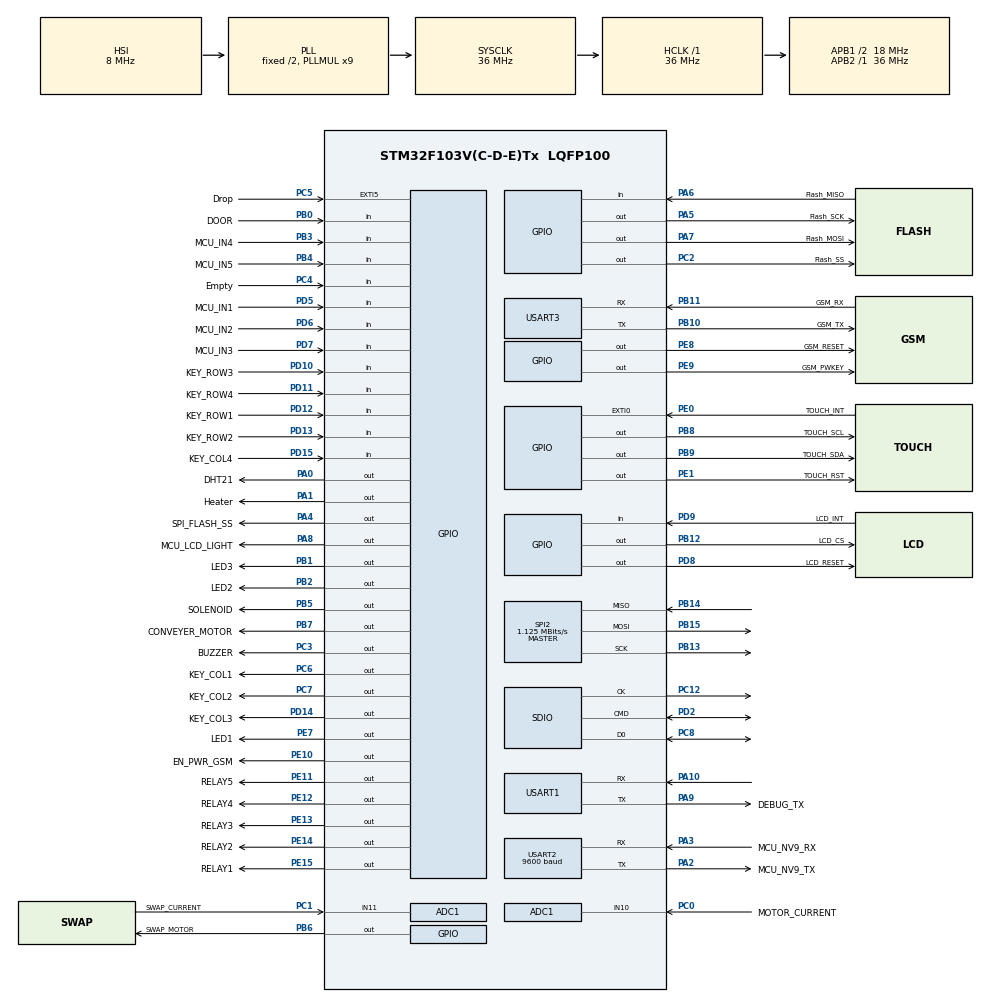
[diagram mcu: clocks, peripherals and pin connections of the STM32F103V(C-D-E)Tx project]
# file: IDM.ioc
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ADC1.Channel-2\#ChannelRegularConversion=ADC_CHANNEL_10
ADC1.Channel-3\#ChannelRegularConversion=ADC_CHANNEL_11
ADC1.ContinuousConvMode=ENABLE
ADC1.EnableRegularConversion=ENABLE
ADC1.ExternalTrigConv=ADC_EXTERNALTRIGCONV_T8_TRGO
ADC1.NbrOfConversion=2
ADC1.NbrOfConversionFlag=1
ADC1.Rank-2\#ChannelRegularConversion=1
ADC1.Rank-3\#ChannelRegularConversion=2
ADC1.SamplingTime-2\#ChannelRegularConversion=ADC_SAMPLETIME_1CYCLE_5
ADC1.SamplingTime-3\#ChannelRegularConversion=ADC_SAMPLETIME_1CYCLE_5
ADC1.master=1
Dma.Request0=USART2_RX
Dma.Request1=USART2_TX
Dma.Request2=USART3_RX
Dma.Request3=USART3_TX
Dma.Request4=USART1_RX
Dma.Request5=USART1_TX
Dma.USART1_RX.4.Direction=DMA_PERIPH_TO_MEMORY
Dma.USART1_RX.4.Instance=DMA1_Channel5
Dma.USART1_RX.4.MemDataAlignment=DMA_MDATAALIGN_BYTE
Dma.USART1_RX.4.MemInc=DMA_MINC_ENABLE
Dma.USART1_RX.4.Mode=DMA_CIRCULAR
Dma.USART1_RX.4.PeriphDataAlignment=DMA_PDATAALIGN_BYTE
Dma.USART1_RX.4.PeriphInc=DMA_PINC_DISABLE
Dma.USART1_RX.4.Priority=DMA_PRIORITY_LOW
Dma.USART1_TX.5.Direction=DMA_MEMORY_TO_PERIPH
Dma.USART1_TX.5.Instance=DMA1_Channel4
Dma.USART1_TX.5.MemDataAlignment=DMA_MDATAALIGN_BYTE
Dma.USART1_TX.5.MemInc=DMA_MINC_ENABLE
Dma.USART1_TX.5.Mode=DMA_NORMAL
Dma.USART1_TX.5.PeriphDataAlignment=DMA_PDATAALIGN_BYTE
Dma.USART1_TX.5.PeriphInc=DMA_PINC_DISABLE
Dma.USART1_TX.5.Priority=DMA_PRIORITY_LOW
Dma.USART2_RX.0.Direction=DMA_PERIPH_TO_MEMORY
Dma.USART2_RX.0.Instance=DMA1_Channel6
Dma.USART2_RX.0.MemDataAlignment=DMA_MDATAALIGN_BYTE
Dma.USART2_RX.0.MemInc=DMA_MINC_ENABLE
Dma.USART2_RX.0.Mode=DMA_NORMAL
Dma.USART2_RX.0.PeriphDataAlignment=DMA_PDATAALIGN_BYTE
Dma.USART2_RX.0.PeriphInc=DMA_PINC_DISABLE
Dma.USART2_RX.0.Priority=DMA_PRIORITY_LOW
Dma.USART2_TX.1.Direction=DMA_MEMORY_TO_PERIPH
Dma.USART2_TX.1.Instance=DMA1_Channel7
Dma.USART2_TX.1.MemDataAlignment=DMA_MDATAALIGN_BYTE
Dma.USART2_TX.1.MemInc=DMA_MINC_ENABLE
Dma.USART2_TX.1.Mode=DMA_NORMAL
Dma.USART2_TX.1.PeriphDataAlignment=DMA_PDATAALIGN_BYTE
Dma.USART2_TX.1.PeriphInc=DMA_PINC_DISABLE
Dma.USART2_TX.1.Priority=DMA_PRIORITY_LOW
Dma.USART3_RX.2.Direction=DMA_PERIPH_TO_MEMORY
Dma.USART3_RX.2.Instance=DMA1_Channel3
Dma.USART3_RX.2.MemDataAlignment=DMA_MDATAALIGN_BYTE
Dma.USART3_RX.2.MemInc=DMA_MINC_ENABLE
Dma.USART3_RX.2.Mode=DMA_CIRCULAR
Dma.USART3_RX.2.PeriphDataAlignment=DMA_PDATAALIGN_BYTE
Dma.USART3_RX.2.PeriphInc=DMA_PINC_DISABLE
Dma.USART3_RX.2.Priority=DMA_PRIORITY_LOW
Dma.USART3_TX.3.Direction=DMA_MEMORY_TO_PERIPH
Dma.USART3_TX.3.Instance=DMA1_Channel2
Dma.USART3_TX.3.MemDataAlignment=DMA_MDATAALIGN_BYTE
Dma.USART3_TX.3.MemInc=DMA_MINC_ENABLE
Dma.USART3_TX.3.Mode=DMA_NORMAL
Dma.USART3_TX.3.PeriphDataAlignment=DMA_PDATAALIGN_BYTE
Dma.USART3_TX.3.PeriphInc=DMA_PINC_DISABLE
Dma.USART3_TX.3.Priority=DMA_PRIORITY_LOW
FATFS._USE_FIND=1
Mcu.Family=STM32F1
Mcu.Name=STM32F103V(C-D-E)Tx
Mcu.Package=LQFP100
NVIC.ADC1_2_IRQn=true\:0\:0\:false\:false\:true\:true\:true\:true
NVIC.DMA1_Channel2_IRQn=true\:1\:0\:true\:true\:true\:2\:false\:true\:true
NVIC.DMA1_Channel3_IRQn=true\:2\:0\:true\:true\:true\:3\:false\:true\:true
NVIC.DMA1_Channel4_IRQn=true\:3\:0\:true\:true\:true\:4\:false\:true\:true
NVIC.DMA1_Channel5_IRQn=true\:4\:0\:true\:true\:true\:5\:false\:true\:true
NVIC.DMA1_Channel6_IRQn=true\:6\:0\:true\:true\:true\:6\:false\:true\:true
NVIC.DMA1_Channel7_IRQn=true\:5\:0\:true\:true\:true\:7\:false\:true\:true
NVIC.EXTI0_IRQn=true\:0\:0\:false\:false\:true\:true\:true\:true
NVIC.EXTI9_5_IRQn=true\:0\:0\:false\:true\:true\:8\:true\:true\:true
NVIC.PriorityGroup=NVIC_PRIORITYGROUP_4
NVIC.RTC_IRQn=true\:0\:0\:false\:true\:true\:1\:true\:true\:true
NVIC.SDIO_IRQn=true\:0\:0\:false\:false\:true\:true\:true\:true
NVIC.TIM3_IRQn=true\:11\:0\:true\:false\:true\:true\:true\:true
NVIC.TIM6_IRQn=true\:7\:0\:true\:true\:true\:12\:true\:true\:true
NVIC.USART1_IRQn=true\:8\:0\:true\:true\:true\:9\:true\:true\:true
NVIC.USART2_IRQn=true\:9\:0\:true\:true\:true\:10\:true\:true\:true
NVIC.USART3_IRQn=true\:10\:0\:true\:true\:true\:11\:true\:true\:true
OSC_IN.Mode=HSE-External-Oscillator
OSC_IN.Signal=RCC_OSC_IN
OSC_OUT.Mode=HSE-External-Oscillator
OSC_OUT.Signal=RCC_OSC_OUT
PA0-WKUP.GPIO_Label=DHT21
PA0-WKUP.GPIO_PuPd=GPIO_PULLUP
PA0-WKUP.GPIO_Speed=GPIO_SPEED_FREQ_HIGH
PA0-WKUP.Signal=GPIO_Output
PA1.GPIO_Label=Heater
PA1.Signal=GPIO_Output
PA10.Mode=Asynchronous
PA10.Signal=USART1_RX
PA2.GPIO_Label=MCU_NV9_TX
PA2.Mode=Asynchronous
PA2.Signal=USART2_TX
PA3.GPIO_Label=MCU_NV9_RX
PA3.Mode=Asynchronous
PA3.Signal=USART2_RX
PA4.GPIO_Label=SPI_FLASH_SS
PA4.GPIO_Speed=GPIO_SPEED_FREQ_HIGH
PA4.Signal=GPIO_Output
PA5.GPIO_Label=Flash_SCK
PA5.GPIO_Speed=GPIO_SPEED_FREQ_HIGH
PA5.PinState=GPIO_PIN_RESET
PA5.Signal=GPIO_Output
PA6.GPIO_Label=Flash_MISO
PA6.Signal=GPIO_Input
PA7.GPIO_Label=Flash_MOSI
PA7.GPIO_Speed=GPIO_SPEED_FREQ_HIGH
PA7.PinState=GPIO_PIN_SET
PA7.Signal=GPIO_Output
PA8.GPIO_Label=MCU_LCD_LIGHT
PA8.Signal=GPIO_Output
PA9.GPIO_Label=DEBUG_TX
PA9.Mode=Asynchronous
PA9.Signal=USART1_TX
PB0.GPIO_Label=DOOR
PB0.Signal=GPIO_Input
PB1.GPIO_Label=LED3
PB1.Signal=GPIO_Output
PB10.GPIO_Label=GSM_TX
PB10.Mode=Asynchronous
PB10.Signal=USART3_TX
PB11.GPIO_Label=GSM_RX
PB11.Mode=Asynchronous
PB11.Signal=USART3_RX
PB12.GPIO_Label=LCD_CS
PB12.GPIO_Speed=GPIO_SPEED_FREQ_HIGH
PB12.PinState=GPIO_PIN_SET
PB12.Signal=GPIO_Output
PB13.Mode=Full_Duplex_Master
PB13.Signal=SPI2_SCK
PB14.Mode=Full_Duplex_Master
PB14.Signal=SPI2_MISO
PB15.Mode=Full_Duplex_Master
PB15.Signal=SPI2_MOSI
PB2.GPIO_Label=LED2
PB2.Signal=GPIO_Output
PB3.GPIO_Label=MCU_IN4
PB3.Signal=GPIO_Input
PB4.GPIO_Label=MCU_IN5
PB4.Signal=GPIO_Input
PB5.GPIO_Label=SOLENOID
PB5.Signal=GPIO_Output
PB6.GPIO_Label=SWAP_MOTOR
PB6.Signal=GPIO_Output
PB7.GPIO_Label=CONVEYER_MOTOR
PB7.Signal=GPIO_Output
PB8.GPIO_Label=TOUCH_SCL
PB8.GPIO_PuPd=GPIO_PULLUP
PB8.GPIO_Speed=GPIO_SPEED_FREQ_HIGH
PB8.Signal=GPIO_Output
PB9.GPIO_Label=TOUCH_SDA
PB9.GPIO_PuPd=GPIO_PULLUP
PB9.GPIO_Speed=GPIO_SPEED_FREQ_HIGH
PB9.Signal=GPIO_Output
PC0.GPIO_Label=MOTOR_CURRENT
PC0.Signal=ADCx_IN10
PC1.GPIO_Label=SWAP_CURRENT
PC1.Signal=ADCx_IN11
PC10.Signal=SDIO_D2
PC11.Signal=SDIO_D3
PC12.Mode=SD_1_bit
PC12.Signal=SDIO_CK
PC14-OSC32_IN.Mode=LSE-External-Oscillator
PC14-OSC32_IN.Signal=RCC_OSC32_IN
PC15-OSC32_OUT.Mode=LSE-External-Oscillator
PC15-OSC32_OUT.Signal=RCC_OSC32_OUT
PC2.GPIO_Label=Flash_SS
PC2.GPIO_Speed=GPIO_SPEED_FREQ_HIGH
PC2.PinState=GPIO_PIN_SET
PC2.Signal=GPIO_Output
PC3.GPIO_Label=BUZZER
PC3.Signal=GPIO_Output
PC4.GPIO_Label=Empty
PC4.Signal=GPIO_Input
PC5.GPIO_Label=Drop
PC5.GPIO_ModeDefaultEXTI=GPIO_MODE_IT_FALLING
PC5.GPIO_PuPd=GPIO_PULLUP
PC5.Signal=GPXTI5
PC6.GPIO_Label=KEY_COL1
PC6.Signal=GPIO_Output
PC7.GPIO_Label=KEY_COL2
PC7.GPIO_PuPd=GPIO_NOPULL
PC7.Signal=GPIO_Output
PC8.Mode=SD_1_bit
PC8.Signal=SDIO_D0
PC9.Signal=SDIO_D1
PD10.GPIO_Label=KEY_ROW3
PD10.GPIO_PuPd=GPIO_PULLDOWN
PD10.Signal=GPIO_Input
PD11.GPIO_Label=KEY_ROW4
PD11.GPIO_PuPd=GPIO_PULLDOWN
PD11.Signal=GPIO_Input
PD12.GPIO_Label=KEY_ROW1
PD12.GPIO_PuPd=GPIO_PULLDOWN
PD12.Signal=GPIO_Input
PD13.GPIO_Label=KEY_ROW2
PD13.GPIO_PuPd=GPIO_PULLDOWN
PD13.Signal=GPIO_Input
PD14.GPIO_Label=KEY_COL3
PD14.Signal=GPIO_Output
PD15.GPIO_Label=KEY_COL4
PD15.GPIO_PuPd=GPIO_PULLDOWN
PD15.Signal=GPIO_Input
PD2.Mode=SD_1_bit
PD2.Signal=SDIO_CMD
PD5.GPIO_Label=MCU_IN1
PD5.Signal=GPIO_Input
PD6.GPIO_Label=MCU_IN2
PD6.Signal=GPIO_Input
PD7.GPIO_Label=MCU_IN3
PD7.Signal=GPIO_Input
PD8.GPIO_Label=LCD_RESET
PD8.GPIO_Speed=GPIO_SPEED_FREQ_LOW
PD8.PinState=GPIO_PIN_SET
PD8.Signal=GPIO_Output
PD9.GPIO_Label=LCD_INT
PD9.Signal=GPIO_Input
PE0.GPIO_Label=TOUCH_INT
PE0.GPIO_PuPd=GPIO_PULLDOWN
PE0.Signal=GPXTI0
PE1.GPIO_Label=TOUCH_RST
PE1.GPIO_PuPd=GPIO_PULLDOWN
PE1.GPIO_Speed=GPIO_SPEED_FREQ_HIGH
PE1.Signal=GPIO_Output
PE10.GPIO_Label=EN_PWR_GSM
PE10.Signal=GPIO_Output
PE11.GPIO_Label=RELAY5
PE11.Signal=GPIO_Output
PE12.GPIO_Label=RELAY4
PE12.Signal=GPIO_Output
PE13.GPIO_Label=RELAY3
PE13.Signal=GPIO_Output
PE14.GPIO_Label=RELAY2
PE14.Signal=GPIO_Output
PE15.GPIO_Label=RELAY1
PE15.Signal=GPIO_Output
PE7.GPIO_Label=LED1
PE7.Signal=GPIO_Output
PE8.GPIO_Label=GSM_RESET
PE8.Signal=GPIO_Output
PE9.GPIO_Label=GSM_PWKEY
PE9.Signal=GPIO_Output
ProjectManager.HeapSize=0x200
ProjectManager.StackSize=0x400
ProjectManager.TargetToolchain=MDK-ARM V5.32
RCC.ADCPresc=RCC_ADCPCLK2_DIV8
RCC.AHBFreq_Value=36000000
RCC.APB1CLKDivider=RCC_HCLK_DIV2
RCC.APB1Freq_Value=18000000
RCC.APB1TimFreq_Value=36000000
RCC.APB2Freq_Value=36000000
RCC.APB2TimFreq_Value=36000000
RCC.HCLKFreq_Value=36000000
RCC.HSEDivPLL=RCC_HSE_PREDIV_DIV2
RCC.PLLMUL=RCC_PLL_MUL9
RCC.RTCClockSelection=RCC_RTCCLKSOURCE_LSE
RCC.SYSCLKFreq_VALUE=36000000
RCC.SYSCLKSource=RCC_SYSCLKSOURCE_PLLCLK
RCC.TimSys_Div=SYSTICK_CLKSOURCE_HCLK_DIV8
RCC.USBFreq_Value=36000000
RTC.Date=2
RTC.Format=RTC_FORMAT_BCD
RTC.Hours=6
RTC.Minutes=59
RTC.Month=RTC_MONTH_JUNE
RTC.Seconds=40
RTC.WeekDay=RTC_WEEKDAY_SUNDAY
RTC.Year=24
SDIO.ClockDiv=1
SH.ADCx_IN10.0=ADC1_IN10,IN10
SH.ADCx_IN11.0=ADC1_IN11,IN11
SPI2.BaudRatePrescaler=SPI_BAUDRATEPRESCALER_16
SPI2.CalculateBaudRate=1.125 MBits/s
SPI2.Direction=SPI_DIRECTION_2LINES
SPI2.Mode=SPI_MODE_MASTER
SPI2.VirtualType=VM_MASTER
TIM3.AutoReloadPreload=TIM_AUTORELOAD_PRELOAD_ENABLE
TIM3.Period=16000
TIM3.Prescaler=0
TIM6.AutoReloadPreload=TIM_AUTORELOAD_PRELOAD_ENABLE
TIM6.Period=999
TIM6.Prescaler=35
USART1.VirtualMode=VM_ASYNC
USART2.BaudRate=9600
USART2.StopBits=STOPBITS_2
USART2.VirtualMode=VM_ASYNC
USART3.VirtualMode=VM_ASYNC
VP_FATFS_VS_SDIO.Mode=SDIO
VP_RTC_VS_RTC_Activate.Mode=RTC_Enabled
VP_RTC_VS_RTC_Calendar.Mode=RTC_Calendar
VP_SYS_VS_ND.Mode=No_Debug
VP_TIM3_VS_ClockSourceINT.Mode=Internal
VP_TIM6_VS_ClockSourceINT.Mode=Enable_Timer
board=custom

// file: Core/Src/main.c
/* USER CODE BEGIN Header */
/**
  ******************************************************************************
  * @file           : main.c
  * @brief          : Main program body
  ******************************************************************************
  * @attention
  *
  * Copyright (c) 2024 STMicroelectronics.
  * All rights reserved.
  *
  * This software is licensed under terms that can be found in the LICENSE file
  * in the root directory of this software component.
  * If no LICENSE file comes with this software, it is provided AS-IS.
  *
  ******************************************************************************
  */
/* USER CODE END Header */
#include "main.h"
#include "fatfs.h"

/* USER CODE BEGIN Includes */
#include <stdio.h>
#include <stdlib.h>
#include <string.h>
#include <app_debug.h>
#include <time.h>

#include "nv11.h"
#include "ssp_defines.h"
#include "serialfunc.h"
#include "SSPComs.h"
#include "ssp_helpers.h"
#include "ITLSSPProc.h"
#include "GLCD.h"
#include "TFT_glcd.h"
//#include "RA8875.h"
//#include "RA_LCD.h"
#include "RTC_time.h"
#include "GSM_drv.h"
#include "GSM_app.h"
#include "USER_GUIDE.h"
#include "dht_sensor.h"
#include "IDM.h"
#include "flash.h"
#include "vdm_app_gsm.h"
#include "vdm_fw.h"
#include "vdm_device_config.h"
#include "TOUCH.h"

//#include "FATFS/src/ff.h"
//#include "SPI_MSD_Driver.h"
//#include "diskio.h"
/* USER CODE END Includes */

/* USER CODE BEGIN PTD */

extern uint8_t rx1_buffer[256];
extern uint16_t AT_timeout;
uint8_t isSecond =0, isSecond_display=0;
DHT_HandleTypeDef DHT_21;
extern uint32_t count;
extern bool flag_readDHT12;
extern LED Led1, Led2, Led3;
extern 	float Humidity, Temperature;
extern vdm_device_config_t m_device_config;
uint32_t sram_ID=0;
uint32_t time_buzz=0;
extern uint16_t count_timeout;
extern uint16_t dht_error;
uint8_t isLCD_COLOR;
extern struct _ts_event ts_event;
extern unsigned char key_tick, key_map[];
/* USER CODE END PTD */

/* USER CODE BEGIN PD */
FATFS SD_FatFs;  /* File system object for SD card logical drive */
char SD_Path[4]; /* SD card logical drive path */
/* USER CODE END PD */

ADC_HandleTypeDef hadc1;

RTC_HandleTypeDef hrtc;

SD_HandleTypeDef hsd;

SPI_HandleTypeDef hspi2;

TIM_HandleTypeDef htim3;
TIM_HandleTypeDef htim6;

UART_HandleTypeDef huart1;
UART_HandleTypeDef huart2;
UART_HandleTypeDef huart3;
DMA_HandleTypeDef hdma_usart1_rx;
DMA_HandleTypeDef hdma_usart1_tx;
DMA_HandleTypeDef hdma_usart2_rx;
DMA_HandleTypeDef hdma_usart2_tx;
DMA_HandleTypeDef hdma_usart3_rx;
DMA_HandleTypeDef hdma_usart3_tx;

/* USER CODE BEGIN PV */
extern	rtc_date_time_t currentTime;
GSM_State GSM;
extern IDM_PARA IDM;
extern IDM_HARDWARE IDM_Status;
uint32_t timeInterval=0;
/* USER CODE END PV */

void SystemClock_Config(void);
static void MX_GPIO_Init(void);
static void MX_DMA_Init(void);
static void MX_RTC_Init(void);
static void MX_USART1_UART_Init(void);
static void MX_ADC1_Init(void);
static void MX_USART2_UART_Init(void);
static void MX_USART3_UART_Init(void);
static void MX_TIM6_Init(void);
static void MX_SPI2_Init(void);
static void MX_SDIO_SD_Init(void);
static void MX_TIM3_Init(void);
static void MX_NVIC_Init(void);

/* USER CODE BEGIN 0 */
struct __FILE { int handle; };
FILE __stdout;
FILE __stdin;

#ifdef __GNUC__
#define PUTCHAR_PROTOTYPE int __io_putchar(int ch)
#else
#define PUTCHAR_PROTOTYPE int fputc(int ch, FILE *f)
#endif /* __GNUC__ */

/**
  * @brief  Retargets the C library DEBUG_INFO function to the USART.
  * @param  None
  * @retval None
  */
PUTCHAR_PROTOTYPE
{
  HAL_UART_Transmit(&huart1, (uint8_t *)&ch, 1, HAL_MAX_DELAY);
  return ch;
}
int stt_DHT=0;
/* USER CODE END 0 */

int main(void)
{
  /* USER CODE BEGIN 1 */
	bool isStart =false, doorOpenStatus = false;	// true is close
  /* USER CODE END 1 */

  /* MCU Configuration--------------------------------------------------------*/

  /* Reset of all peripherals, Initializes the Flash interface and the Systick. */
  HAL_Init();

  /* Configure the system clock */
  SystemClock_Config();

  /* Initialize all configured peripherals */
  MX_GPIO_Init();
  MX_DMA_Init();
  MX_RTC_Init();
  MX_USART1_UART_Init();
  MX_ADC1_Init();
  MX_USART2_UART_Init();
  MX_USART3_UART_Init();
  MX_TIM6_Init();
  MX_SPI2_Init();
  MX_SDIO_SD_Init();
  MX_FATFS_Init();
  MX_TIM3_Init();

  /* Initialize interrupts */
  MX_NVIC_Init();
  /* USER CODE BEGIN 2 */
	    DEBUG_INFO("Vending machine V2.0\r\nBuild %s %s\r\nFirmware version %s, hardware version %s\r\n",
               __DATE__, __TIME__,
               VDM_FIRMWARE_VERSION, VDM_HARDWARE_VERSION);
	HAL_Delay(500);
	IDM_init();
//	HAL_Delay(1000);
	//init DHT21
	DHT_Sensor_Init(&DHT_21);
	DHT_21.values.humidity =0;
	HAL_GPIO_WritePin(MCU_LCD_LIGHT_GPIO_Port, MCU_LCD_LIGHT_Pin, GPIO_PIN_SET);
	//END init DHT21
	HAL_TIM_Base_Start_IT(&htim6);
	HAL_TIM_Base_Start_IT(&htim3);
	Buzz_On(500);
//	HAL_GPIO_WritePin(CONVEYER_MOTOR_GPIO_Port, CONVEYER_MOTOR_Pin, GPIO_PIN_RESET);
	HAL_UARTEx_ReceiveToIdle_DMA(&huart1, rx1_buffer, 256);
	//LCD

	LCD_init();
//	RA8875_LCD_Initial();
//	printf("LCD_COLOR\r\n");

//	while(isLCD_COLOR)
//	{

//		printf("LCD_COLOR\r\n");
//		test_lcd();

//		HAL_Delay(100);
//	}
//#endif
	if(isLCD_COLOR)
	{
		Displaypicture(Back_ground);
	}
	else
	{
		GLcd_DrawString("Starting...", 0, 0, WHITE); /* Hien thi len man hinh GLCD trang thai khoi tao GSM/GPRS */
		GLcd_Flush();
	}
//load config
	flash_init();
//	printf("Sram_STT: %d\r\n", Read_SRAM_STT());
	printf("ID_SRAM: %u\r\n", Read_SRAM_ID());
	read_device_config();
	vdm_app_gsm_set_device_id(m_device_config.peripheral.machine_id);
//	test_nv11();
	if(isLCD_COLOR)
	{
		//touch int
		TOUCH_Init();
	}
	else
	{
		GLcd_DrawString("Init NV9...", 0, 10, WHITE); /* Hien thi len man hinh GLCD trang thai khoi tao GSM/GPRS */
		GLcd_Flush();
	}
	ssp_serial_initialize();
  ITLSSP_Init();
	int8_t i8_nv11_init = vdm_NV11_Init();

	if(i8_nv11_init == INIT_OK)
	{
		if(isLCD_COLOR)
		{

		}
		else
		{
			GLcd_DrawString("Init NV9...OK", 0, 10, WHITE); /* Hien thi len man hinh GLCD trang thai khoi tao GSM/GPRS */
			GLcd_Flush();
		}
		printf("NV11 Init Successful!\r\n");
	}
	else
	{
		if(isLCD_COLOR)
		{

		}
		else
		{
			GLcd_DrawString("Init NV9...NOK", 0, 10, WHITE); /* Hien thi len man hinh GLCD trang thai khoi tao GSM/GPRS */
			GLcd_Flush();
		}
		printf("NV11 Init Fail: %d\r\n",i8_nv11_init);
	}

	NV11_Disable(true);
	GSM_init();
	printf("Infinite loop\r\n");
  /* USER CODE END 2 */

  /* Infinite loop */
  /* USER CODE BEGIN WHILE */
		HAL_GPIO_WritePin(SWAP_MOTOR_GPIO_Port, SWAP_MOTOR_Pin, GPIO_PIN_RESET);
		GLcd_ClearScreen(BLACK);
//	vdm_device_config_load();
//
//	for(int n=0; n<10; n++)
//	{
//		Write_Byte_Sram(n, n);
//	}
	int res;
	uint8_t nv11_timeout_count=0;//, GSM_connect_timeout=0;
	uint8_t n, m, isTouch=0, oldTouch=0;
	char s[30];

//isTouch = GSLX680_read_data();
  while (1)
  {
    /* USER CODE END WHILE */

    /* USER CODE BEGIN 3 */

		res = vdm_NV11_Process(1000);
		if(res == ERR_POLL_TIMEOUT)
		{
			nv11_timeout_count++;
			if(nv11_timeout_count>20)
			{
				vdm_NV11_Init();
			}
		}
		else
			nv11_timeout_count =0;
		checkGPSCommand();
		Scan_IDM();
		Menu_draw();
//		if(ts_event.touch_event == TOUCH_UP)
//		{
//			Buzz_On(100);
//			ts_event.touch_event = NO_TOUCH;
//		}
		if(isTouch==0)
			isTouch = GSLX680_read_data();

		if(ts_event.touch_event == TOUCH_DOWN)
		{
//				printf("p1: %d %d\r\nP2: %d %d\r\nP3: %d %d\r\nP4: %d %d\r\n", ts_event.x1, ts_event.y1&0xFFF, ts_event.x2, ts_event.y2&0xFFF, ts_event.x3, ts_event.y3&0xFFF, ts_event.x4, ts_event.y4&0xFFF);
	//			Buzz_On(50);
	//			drawRoundRect(ts_event.x1, ts_event.y1, 100, 60, 10, color_red, true);

				if(ts_event.x1>100 && ts_event.x1<415 && ts_event.y1>100 && ts_event.y1<360)
				{
//					Buzz_On(50);
					for(n=0; n<4; n++)
						for(m=0; m<3; m++)
						{
							if(m == (ts_event.x1-100)/105 && n == (ts_event.y1-100)/65)
							{
								drawRoundRect(100+ (m*105), 100+ (n*65), 100, 60, 10, color_black, false);
								drawRoundRect(101+ (m*105), 101+ (n*65), 98, 58, 10, color_black, false);
//								key_tick = key_map[n*3 + m];
							}
							else
							{
								drawRoundRect(100+ (m*105), 100+ (n*65), 100, 60, 10, color_green, true);
								sprintf(s,"%c",key_map[n*3 + m]);
								LCD_background(color_green);
								TFT_DrawString_X4(s,120+ (m*105), 100+ (n*65),color_red);
							}
						}
				}
				else
				{
					drawRoundRect(100+ (m*105), 100+ (n*65), 100, 60, 10, color_green, true);
					sprintf(s,"%c",key_map[n*3 + m]);
					LCD_background(color_green);
					TFT_DrawString_X4(s,120+ (m*105), 100+ (n*65),color_red);
				}
		}
		if(ts_event.touch_event == TOUCH_UP)
		{
			ts_event.touch_event = NO_TOUCH;
				if(ts_event.x1>100 && ts_event.x1<415 && ts_event.y1>100 && ts_event.y1<360)
				{
					Buzz_On(100);
					m = (ts_event.x1-100)/105;
					n = (ts_event.y1-100)/65;
					key_tick = key_map[n*3 + m];
				}
		}
		if(isSecond)
		{

//			if(currentTime.second%2)
//				HAL_GPIO_WritePin(TOUCH_RST_GPIO_Port, TOUCH_RST_Pin, GPIO_PIN_SET);
//			else
//				HAL_GPIO_WritePin(TOUCH_RST_GPIO_Port, TOUCH_RST_Pin, GPIO_PIN_RESET);
			isSecond=0;
			if(isStart == false	&& GSM.Connect4G==1 )
			{
				isStart = true;
				vdm_app_gsm_send_start_frame();
			}
			if(doorOpenStatus != IDM_Status.isDoorOpen)
			{
				doorOpenStatus = IDM_Status.isDoorOpen;
				vdm_app_gsm_send_door_frame(!IDM_Status.isDoorOpen);
			}
			if(timeInterval>120)	// 2phut
			{
				timeInterval =0;
				vdm_app_gsm_send_heartbeat();
			}
			count_timeout ++;
			if(GSM.CSQ>10)
				TCP_connect();
//			GSM_connect_timeout ++;
//			if(GSM_connect_timeout>60)
//			{
//				GSM_init();
//			}
			currentTime = getRTC();
//			uint32_t size_of_frame = sizeof(m_door_close_frame);
//			printf("size fram: %d\r\n", size_of_frame);
			if(currentTime.second%10==0)
			{
				stt_DHT = DHT_Sensor_Read(&DHT_21);
				flag_readDHT12=false;
				if(stt_DHT!=READ_OK)
				{
					dht_error ++;
					DHT_21.values.humidity =0;
					DHT_21.values.temperature =0;
				}
				Humidity = (uint8_t)DHT_21.values.humidity;
				Temperature = (uint8_t)DHT_21.values.temperature;
			}
		}

  }

  /* USER CODE END 3 */
}

void SystemClock_Config(void)
{
  RCC_OscInitTypeDef RCC_OscInitStruct = {0};
  RCC_ClkInitTypeDef RCC_ClkInitStruct = {0};
  RCC_PeriphCLKInitTypeDef PeriphClkInit = {0};

  /** Initializes the RCC Oscillators according to the specified parameters
  * in the RCC_OscInitTypeDef structure.
  */
  RCC_OscInitStruct.OscillatorType = RCC_OSCILLATORTYPE_HSI|RCC_OSCILLATORTYPE_LSE;
  RCC_OscInitStruct.LSEState = RCC_LSE_ON;
  RCC_OscInitStruct.HSIState = RCC_HSI_ON;
  RCC_OscInitStruct.HSICalibrationValue = RCC_HSICALIBRATION_DEFAULT;
  RCC_OscInitStruct.PLL.PLLState = RCC_PLL_ON;
  RCC_OscInitStruct.PLL.PLLSource = RCC_PLLSOURCE_HSI_DIV2;
  RCC_OscInitStruct.PLL.PLLMUL = RCC_PLL_MUL9;
  if (HAL_RCC_OscConfig(&RCC_OscInitStruct) != HAL_OK)
  {
    Error_Handler();
  }

  /** Initializes the CPU, AHB and APB buses clocks
  */
  RCC_ClkInitStruct.ClockType = RCC_CLOCKTYPE_HCLK|RCC_CLOCKTYPE_SYSCLK
                              |RCC_CLOCKTYPE_PCLK1|RCC_CLOCKTYPE_PCLK2;
  RCC_ClkInitStruct.SYSCLKSource = RCC_SYSCLKSOURCE_PLLCLK;
  RCC_ClkInitStruct.AHBCLKDivider = RCC_SYSCLK_DIV1;
  RCC_ClkInitStruct.APB1CLKDivider = RCC_HCLK_DIV2;
  RCC_ClkInitStruct.APB2CLKDivider = RCC_HCLK_DIV1;

  if (HAL_RCC_ClockConfig(&RCC_ClkInitStruct, FLASH_LATENCY_1) != HAL_OK)
  {
    Error_Handler();
  }
  PeriphClkInit.PeriphClockSelection = RCC_PERIPHCLK_RTC|RCC_PERIPHCLK_ADC;
  PeriphClkInit.RTCClockSelection = RCC_RTCCLKSOURCE_LSE;
  PeriphClkInit.AdcClockSelection = RCC_ADCPCLK2_DIV8;
  if (HAL_RCCEx_PeriphCLKConfig(&PeriphClkInit) != HAL_OK)
  {
    Error_Handler();
  }
}

/**
  * @brief NVIC Configuration.
  * @retval None
  */
static void MX_NVIC_Init(void)
{
  /* RTC_IRQn interrupt configuration */
  HAL_NVIC_SetPriority(RTC_IRQn, 0, 0);
  HAL_NVIC_EnableIRQ(RTC_IRQn);
  /* DMA1_Channel2_IRQn interrupt configuration */
  HAL_NVIC_SetPriority(DMA1_Channel2_IRQn, 1, 0);
  HAL_NVIC_EnableIRQ(DMA1_Channel2_IRQn);
  /* DMA1_Channel3_IRQn interrupt configuration */
  HAL_NVIC_SetPriority(DMA1_Channel3_IRQn, 2, 0);
  HAL_NVIC_EnableIRQ(DMA1_Channel3_IRQn);
  /* DMA1_Channel4_IRQn interrupt configuration */
  HAL_NVIC_SetPriority(DMA1_Channel4_IRQn, 3, 0);
  HAL_NVIC_EnableIRQ(DMA1_Channel4_IRQn);
  /* DMA1_Channel5_IRQn interrupt configuration */
  HAL_NVIC_SetPriority(DMA1_Channel5_IRQn, 4, 0);
  HAL_NVIC_EnableIRQ(DMA1_Channel5_IRQn);
  /* DMA1_Channel6_IRQn interrupt configuration */
  HAL_NVIC_SetPriority(DMA1_Channel6_IRQn, 6, 0);
  HAL_NVIC_EnableIRQ(DMA1_Channel6_IRQn);
  /* DMA1_Channel7_IRQn interrupt configuration */
  HAL_NVIC_SetPriority(DMA1_Channel7_IRQn, 5, 0);
  HAL_NVIC_EnableIRQ(DMA1_Channel7_IRQn);
  /* EXTI9_5_IRQn interrupt configuration */
  HAL_NVIC_SetPriority(EXTI9_5_IRQn, 0, 0);
  HAL_NVIC_EnableIRQ(EXTI9_5_IRQn);
  /* USART1_IRQn interrupt configuration */
  HAL_NVIC_SetPriority(USART1_IRQn, 8, 0);
  HAL_NVIC_EnableIRQ(USART1_IRQn);
  /* USART2_IRQn interrupt configuration */
  HAL_NVIC_SetPriority(USART2_IRQn, 9, 0);
  HAL_NVIC_EnableIRQ(USART2_IRQn);
  /* USART3_IRQn interrupt configuration */
  HAL_NVIC_SetPriority(USART3_IRQn, 10, 0);
  HAL_NVIC_EnableIRQ(USART3_IRQn);
  /* TIM6_IRQn interrupt configuration */
  HAL_NVIC_SetPriority(TIM6_IRQn, 7, 0);
  HAL_NVIC_EnableIRQ(TIM6_IRQn);
}

static void MX_ADC1_Init(void)
{

  ADC_ChannelConfTypeDef sConfig = {0};

  /** Common config
  */
  hadc1.Instance = ADC1;
  hadc1.Init.ScanConvMode = ADC_SCAN_ENABLE;
  hadc1.Init.ContinuousConvMode = ENABLE;
  hadc1.Init.DiscontinuousConvMode = DISABLE;
  hadc1.Init.ExternalTrigConv = ADC_EXTERNALTRIGCONV_T8_TRGO;
  hadc1.Init.DataAlign = ADC_DATAALIGN_RIGHT;
  hadc1.Init.NbrOfConversion = 2;
  if (HAL_ADC_Init(&hadc1) != HAL_OK)
  {
    Error_Handler();
  }

  /** Enable or disable the remapping of ADC1_ETRGREG:
  * ADC1 External Event regular conversion is connected to TIM8 TRG0
  */
  __HAL_AFIO_REMAP_ADC1_ETRGREG_ENABLE();

  /** Configure Regular Channel
  */
  sConfig.Channel = ADC_CHANNEL_10;
  sConfig.Rank = ADC_REGULAR_RANK_1;
  sConfig.SamplingTime = ADC_SAMPLETIME_1CYCLE_5;
  if (HAL_ADC_ConfigChannel(&hadc1, &sConfig) != HAL_OK)
  {
    Error_Handler();
  }

  /** Configure Regular Channel
  */
  sConfig.Channel = ADC_CHANNEL_11;
  sConfig.Rank = ADC_REGULAR_RANK_2;
  if (HAL_ADC_ConfigChannel(&hadc1, &sConfig) != HAL_OK)
  {
    Error_Handler();
  }

}

static void MX_RTC_Init(void)
{

  RTC_TimeTypeDef sTime = {0};
  RTC_DateTypeDef DateToUpdate = {0};

  /** Initialize RTC Only
  */
  hrtc.Instance = RTC;
  hrtc.Init.AsynchPrediv = RTC_AUTO_1_SECOND;
  hrtc.Init.OutPut = RTC_OUTPUTSOURCE_ALARM;
  if (HAL_RTC_Init(&hrtc) != HAL_OK)
  {
    Error_Handler();
  }

  /* USER CODE BEGIN Check_RTC_BKUP */
	HAL_RTCEx_SetSecond_IT(&hrtc);
	if(HAL_RTCEx_BKUPRead(&hrtc, RTC_BKP_DR1)==0x3F20)
	{
		return;
	}
  /* USER CODE END Check_RTC_BKUP */

  /** Initialize RTC and set the Time and Date
  */
  sTime.Hours = 0x6;
  sTime.Minutes = 0x59;
  sTime.Seconds = 0x40;

  if (HAL_RTC_SetTime(&hrtc, &sTime, RTC_FORMAT_BCD) != HAL_OK)
  {
    Error_Handler();
  }
  DateToUpdate.WeekDay = RTC_WEEKDAY_SUNDAY;
  DateToUpdate.Month = RTC_MONTH_JUNE;
  DateToUpdate.Date = 0x2;
  DateToUpdate.Year = 0x24;

  if (HAL_RTC_SetDate(&hrtc, &DateToUpdate, RTC_FORMAT_BCD) != HAL_OK)
  {
    Error_Handler();
  }
  /* USER CODE BEGIN RTC_Init 2 */
	currentTime.year = 2024;
	currentTime.month = 6;
	currentTime.day = 29;
	currentTime.hour=2;
	currentTime.minute=01;
	currentTime.second=00;
	setRTC(currentTime);
	HAL_RTCEx_BKUPWrite(&hrtc, RTC_BKP_DR1, 0x3F20);
  /* USER CODE END RTC_Init 2 */

}

static void MX_SDIO_SD_Init(void)
{

  hsd.Instance = SDIO;
  hsd.Init.ClockEdge = SDIO_CLOCK_EDGE_RISING;
  hsd.Init.ClockBypass = SDIO_CLOCK_BYPASS_DISABLE;
  hsd.Init.ClockPowerSave = SDIO_CLOCK_POWER_SAVE_DISABLE;
  hsd.Init.BusWide = SDIO_BUS_WIDE_1B;
  hsd.Init.HardwareFlowControl = SDIO_HARDWARE_FLOW_CONTROL_DISABLE;
  hsd.Init.ClockDiv = 1;
  /* USER CODE BEGIN SDIO_Init 2 */
//	HAL_SD_MspInit(&hsd);
  /* USER CODE END SDIO_Init 2 */

}

static void MX_SPI2_Init(void)
{

  /* USER CODE BEGIN SPI2_Init 0 */
#ifdef	LCD_MONO
  hspi2.Instance = SPI2;
  hspi2.Init.Mode = SPI_MODE_MASTER;
  hspi2.Init.Direction = SPI_DIRECTION_2LINES;
  hspi2.Init.DataSize = SPI_DATASIZE_8BIT;
  hspi2.Init.CLKPolarity = SPI_POLARITY_LOW;
  hspi2.Init.CLKPhase = SPI_PHASE_1EDGE;
  hspi2.Init.NSS = SPI_NSS_SOFT;
  hspi2.Init.BaudRatePrescaler = SPI_BAUDRATEPRESCALER_32	;
  hspi2.Init.FirstBit = SPI_FIRSTBIT_MSB;
  hspi2.Init.TIMode = SPI_TIMODE_DISABLE;
  hspi2.Init.CRCCalculation = SPI_CRCCALCULATION_DISABLE;
  hspi2.Init.CRCPolynomial = 10;
  if (HAL_SPI_Init(&hspi2) != HAL_OK)
  {
    Error_Handler();
  }
#else
  /* USER CODE END SPI2_Init 0 */

  /* SPI2 parameter configuration*/
  hspi2.Instance = SPI2;
  hspi2.Init.Mode = SPI_MODE_MASTER;
  hspi2.Init.Direction = SPI_DIRECTION_2LINES;
  hspi2.Init.DataSize = SPI_DATASIZE_8BIT;
  hspi2.Init.CLKPolarity = SPI_POLARITY_LOW;
  hspi2.Init.CLKPhase = SPI_PHASE_1EDGE;
  hspi2.Init.NSS = SPI_NSS_SOFT;
  hspi2.Init.BaudRatePrescaler = SPI_BAUDRATEPRESCALER_16;
  hspi2.Init.FirstBit = SPI_FIRSTBIT_MSB;
  hspi2.Init.TIMode = SPI_TIMODE_DISABLE;
  hspi2.Init.CRCCalculation = SPI_CRCCALCULATION_DISABLE;
  hspi2.Init.CRCPolynomial = 10;
  if (HAL_SPI_Init(&hspi2) != HAL_OK)
  {
    Error_Handler();
  }
  /* USER CODE BEGIN SPI2_Init 2 */
#endif
  /* USER CODE END SPI2_Init 2 */

}

static void MX_TIM3_Init(void)
{

  TIM_ClockConfigTypeDef sClockSourceConfig = {0};
  TIM_MasterConfigTypeDef sMasterConfig = {0};

  htim3.Instance = TIM3;
  htim3.Init.Prescaler = 0;
  htim3.Init.CounterMode = TIM_COUNTERMODE_UP;
  htim3.Init.Period = 16000;
  htim3.Init.ClockDivision = TIM_CLOCKDIVISION_DIV1;
  htim3.Init.AutoReloadPreload = TIM_AUTORELOAD_PRELOAD_ENABLE;
  if (HAL_TIM_Base_Init(&htim3) != HAL_OK)
  {
    Error_Handler();
  }
  sClockSourceConfig.ClockSource = TIM_CLOCKSOURCE_INTERNAL;
  if (HAL_TIM_ConfigClockSource(&htim3, &sClockSourceConfig) != HAL_OK)
  {
    Error_Handler();
  }
  sMasterConfig.MasterOutputTrigger = TIM_TRGO_RESET;
  sMasterConfig.MasterSlaveMode = TIM_MASTERSLAVEMODE_DISABLE;
  if (HAL_TIMEx_MasterConfigSynchronization(&htim3, &sMasterConfig) != HAL_OK)
  {
    Error_Handler();
  }

}

static void MX_TIM6_Init(void)
{

  TIM_MasterConfigTypeDef sMasterConfig = {0};

  htim6.Instance = TIM6;
  htim6.Init.Prescaler = 35;
  htim6.Init.CounterMode = TIM_COUNTERMODE_UP;
  htim6.Init.Period = 999;
  htim6.Init.AutoReloadPreload = TIM_AUTORELOAD_PRELOAD_ENABLE;
  if (HAL_TIM_Base_Init(&htim6) != HAL_OK)
  {
    Error_Handler();
  }
  sMasterConfig.MasterOutputTrigger = TIM_TRGO_RESET;
  sMasterConfig.MasterSlaveMode = TIM_MASTERSLAVEMODE_DISABLE;
  if (HAL_TIMEx_MasterConfigSynchronization(&htim6, &sMasterConfig) != HAL_OK)
  {
    Error_Handler();
  }

}

static void MX_USART1_UART_Init(void)
{

  huart1.Instance = USART1;
  huart1.Init.BaudRate = 115200;
  huart1.Init.WordLength = UART_WORDLENGTH_8B;
  huart1.Init.StopBits = UART_STOPBITS_1;
  huart1.Init.Parity = UART_PARITY_NONE;
  huart1.Init.Mode = UART_MODE_TX_RX;
  huart1.Init.HwFlowCtl = UART_HWCONTROL_NONE;
  huart1.Init.OverSampling = UART_OVERSAMPLING_16;
  if (HAL_UART_Init(&huart1) != HAL_OK)
  {
    Error_Handler();
  }

}

static void MX_USART2_UART_Init(void)
{

  huart2.Instance = USART2;
  huart2.Init.BaudRate = 9600;
  huart2.Init.WordLength = UART_WORDLENGTH_8B;
  huart2.Init.StopBits = UART_STOPBITS_2;
  huart2.Init.Parity = UART_PARITY_NONE;
  huart2.Init.Mode = UART_MODE_TX_RX;
  huart2.Init.HwFlowCtl = UART_HWCONTROL_NONE;
  huart2.Init.OverSampling = UART_OVERSAMPLING_16;
  if (HAL_UART_Init(&huart2) != HAL_OK)
  {
    Error_Handler();
  }

}

static void MX_USART3_UART_Init(void)
{

  huart3.Instance = USART3;
  huart3.Init.BaudRate = 115200;
  huart3.Init.WordLength = UART_WORDLENGTH_8B;
  huart3.Init.StopBits = UART_STOPBITS_1;
  huart3.Init.Parity = UART_PARITY_NONE;
  huart3.Init.Mode = UART_MODE_TX_RX;
  huart3.Init.HwFlowCtl = UART_HWCONTROL_NONE;
  huart3.Init.OverSampling = UART_OVERSAMPLING_16;
  if (HAL_UART_Init(&huart3) != HAL_OK)
  {
    Error_Handler();
  }

}

static void MX_DMA_Init(void)
{

  /* DMA controller clock enable */
  __HAL_RCC_DMA1_CLK_ENABLE();

}

static void MX_GPIO_Init(void)
{
  GPIO_InitTypeDef GPIO_InitStruct = {0};

  /* GPIO Ports Clock Enable */
  __HAL_RCC_GPIOC_CLK_ENABLE();
  __HAL_RCC_GPIOA_CLK_ENABLE();
  __HAL_RCC_GPIOB_CLK_ENABLE();
  __HAL_RCC_GPIOE_CLK_ENABLE();
  __HAL_RCC_GPIOD_CLK_ENABLE();

  /*Configure GPIO pin Output Level */
  HAL_GPIO_WritePin(Flash_SS_GPIO_Port, Flash_SS_Pin, GPIO_PIN_SET);

  /*Configure GPIO pin Output Level */
  HAL_GPIO_WritePin(GPIOC, BUZZER_Pin|KEY_COL1_Pin|KEY_COL2_Pin, GPIO_PIN_RESET);

  /*Configure GPIO pin Output Level */
  HAL_GPIO_WritePin(GPIOA, DHT21_Pin|Heater_Pin|SPI_FLASH_SS_Pin|Flash_SCK_Pin
                          |MCU_LCD_LIGHT_Pin, GPIO_PIN_RESET);

  /*Configure GPIO pin Output Level */
  HAL_GPIO_WritePin(Flash_MOSI_GPIO_Port, Flash_MOSI_Pin, GPIO_PIN_SET);

  /*Configure GPIO pin Output Level */
  HAL_GPIO_WritePin(GPIOB, LED3_Pin|LED2_Pin|SOLENOID_Pin|SWAP_MOTOR_Pin
                          |CONVEYER_MOTOR_Pin|TOUCH_SCL_Pin|TOUCH_SDA_Pin, GPIO_PIN_RESET);

  /*Configure GPIO pin Output Level */
  HAL_GPIO_WritePin(GPIOE, LED1_Pin|GSM_RESET_Pin|GSM_PWKEY_Pin|EN_PWR_GSM_Pin
                          |RELAY5_Pin|RELAY4_Pin|RELAY3_Pin|RELAY2_Pin
                          |RELAY1_Pin|TOUCH_RST_Pin, GPIO_PIN_RESET);

  /*Configure GPIO pin Output Level */
  HAL_GPIO_WritePin(LCD_CS_GPIO_Port, LCD_CS_Pin, GPIO_PIN_SET);

  /*Configure GPIO pin Output Level */
  HAL_GPIO_WritePin(LCD_RESET_GPIO_Port, LCD_RESET_Pin, GPIO_PIN_SET);

  /*Configure GPIO pin Output Level */
  HAL_GPIO_WritePin(KEY_COL3_GPIO_Port, KEY_COL3_Pin, GPIO_PIN_RESET);

  /*Configure GPIO pin : Flash_SS_Pin */
  GPIO_InitStruct.Pin = Flash_SS_Pin;
  GPIO_InitStruct.Mode = GPIO_MODE_OUTPUT_PP;
  GPIO_InitStruct.Pull = GPIO_NOPULL;
  GPIO_InitStruct.Speed = GPIO_SPEED_FREQ_HIGH;
  HAL_GPIO_Init(Flash_SS_GPIO_Port, &GPIO_InitStruct);

  /*Configure GPIO pins : BUZZER_Pin KEY_COL1_Pin KEY_COL2_Pin */
  GPIO_InitStruct.Pin = BUZZER_Pin|KEY_COL1_Pin|KEY_COL2_Pin;
  GPIO_InitStruct.Mode = GPIO_MODE_OUTPUT_PP;
  GPIO_InitStruct.Pull = GPIO_NOPULL;
  GPIO_InitStruct.Speed = GPIO_SPEED_FREQ_LOW;
  HAL_GPIO_Init(GPIOC, &GPIO_InitStruct);

  /*Configure GPIO pin : DHT21_Pin */
  GPIO_InitStruct.Pin = DHT21_Pin;
  GPIO_InitStruct.Mode = GPIO_MODE_OUTPUT_PP;
  GPIO_InitStruct.Pull = GPIO_PULLUP;
  GPIO_InitStruct.Speed = GPIO_SPEED_FREQ_HIGH;
  HAL_GPIO_Init(DHT21_GPIO_Port, &GPIO_InitStruct);

  /*Configure GPIO pins : Heater_Pin MCU_LCD_LIGHT_Pin */
  GPIO_InitStruct.Pin = Heater_Pin|MCU_LCD_LIGHT_Pin;
  GPIO_InitStruct.Mode = GPIO_MODE_OUTPUT_PP;
  GPIO_InitStruct.Pull = GPIO_NOPULL;
  GPIO_InitStruct.Speed = GPIO_SPEED_FREQ_LOW;
  HAL_GPIO_Init(GPIOA, &GPIO_InitStruct);

  /*Configure GPIO pins : SPI_FLASH_SS_Pin Flash_SCK_Pin Flash_MOSI_Pin */
  GPIO_InitStruct.Pin = SPI_FLASH_SS_Pin|Flash_SCK_Pin|Flash_MOSI_Pin;
  GPIO_InitStruct.Mode = GPIO_MODE_OUTPUT_PP;
  GPIO_InitStruct.Pull = GPIO_NOPULL;
  GPIO_InitStruct.Speed = GPIO_SPEED_FREQ_HIGH;
  HAL_GPIO_Init(GPIOA, &GPIO_InitStruct);

  /*Configure GPIO pin : Flash_MISO_Pin */
  GPIO_InitStruct.Pin = Flash_MISO_Pin;
  GPIO_InitStruct.Mode = GPIO_MODE_INPUT;
  GPIO_InitStruct.Pull = GPIO_NOPULL;
  HAL_GPIO_Init(Flash_MISO_GPIO_Port, &GPIO_InitStruct);

  /*Configure GPIO pin : Empty_Pin */
  GPIO_InitStruct.Pin = Empty_Pin;
  GPIO_InitStruct.Mode = GPIO_MODE_INPUT;
  GPIO_InitStruct.Pull = GPIO_NOPULL;
  HAL_GPIO_Init(Empty_GPIO_Port, &GPIO_InitStruct);

  /*Configure GPIO pin : Drop_Pin */
  GPIO_InitStruct.Pin = Drop_Pin;
  GPIO_InitStruct.Mode = GPIO_MODE_IT_FALLING;
  GPIO_InitStruct.Pull = GPIO_PULLUP;
  HAL_GPIO_Init(Drop_GPIO_Port, &GPIO_InitStruct);

  /*Configure GPIO pins : DOOR_Pin MCU_IN4_Pin MCU_IN5_Pin */
  GPIO_InitStruct.Pin = DOOR_Pin|MCU_IN4_Pin|MCU_IN5_Pin;
  GPIO_InitStruct.Mode = GPIO_MODE_INPUT;
  GPIO_InitStruct.Pull = GPIO_NOPULL;
  HAL_GPIO_Init(GPIOB, &GPIO_InitStruct);

  /*Configure GPIO pins : LED3_Pin LED2_Pin SOLENOID_Pin SWAP_MOTOR_Pin
                           CONVEYER_MOTOR_Pin */
  GPIO_InitStruct.Pin = LED3_Pin|LED2_Pin|SOLENOID_Pin|SWAP_MOTOR_Pin
                          |CONVEYER_MOTOR_Pin;
  GPIO_InitStruct.Mode = GPIO_MODE_OUTPUT_PP;
  GPIO_InitStruct.Pull = GPIO_NOPULL;
  GPIO_InitStruct.Speed = GPIO_SPEED_FREQ_LOW;
  HAL_GPIO_Init(GPIOB, &GPIO_InitStruct);

  /*Configure GPIO pins : LED1_Pin GSM_RESET_Pin GSM_PWKEY_Pin EN_PWR_GSM_Pin
                           RELAY5_Pin RELAY4_Pin RELAY3_Pin RELAY2_Pin
                           RELAY1_Pin */
  GPIO_InitStruct.Pin = LED1_Pin|GSM_RESET_Pin|GSM_PWKEY_Pin|EN_PWR_GSM_Pin
                          |RELAY5_Pin|RELAY4_Pin|RELAY3_Pin|RELAY2_Pin
                          |RELAY1_Pin;
  GPIO_InitStruct.Mode = GPIO_MODE_OUTPUT_PP;
  GPIO_InitStruct.Pull = GPIO_NOPULL;
  GPIO_InitStruct.Speed = GPIO_SPEED_FREQ_LOW;
  HAL_GPIO_Init(GPIOE, &GPIO_InitStruct);

  /*Configure GPIO pin : LCD_CS_Pin */
  GPIO_InitStruct.Pin = LCD_CS_Pin;
  GPIO_InitStruct.Mode = GPIO_MODE_OUTPUT_PP;
  GPIO_InitStruct.Pull = GPIO_NOPULL;
  GPIO_InitStruct.Speed = GPIO_SPEED_FREQ_HIGH;
  HAL_GPIO_Init(LCD_CS_GPIO_Port, &GPIO_InitStruct);

  /*Configure GPIO pins : LCD_RESET_Pin KEY_COL3_Pin */
  GPIO_InitStruct.Pin = LCD_RESET_Pin|KEY_COL3_Pin;
  GPIO_InitStruct.Mode = GPIO_MODE_OUTPUT_PP;
  GPIO_InitStruct.Pull = GPIO_NOPULL;
  GPIO_InitStruct.Speed = GPIO_SPEED_FREQ_LOW;
  HAL_GPIO_Init(GPIOD, &GPIO_InitStruct);

  /*Configure GPIO pins : LCD_INT_Pin MCU_IN1_Pin MCU_IN2_Pin MCU_IN3_Pin */
  GPIO_InitStruct.Pin = LCD_INT_Pin|MCU_IN1_Pin|MCU_IN2_Pin|MCU_IN3_Pin;
  GPIO_InitStruct.Mode = GPIO_MODE_INPUT;
  GPIO_InitStruct.Pull = GPIO_NOPULL;
  HAL_GPIO_Init(GPIOD, &GPIO_InitStruct);

  /*Configure GPIO pins : KEY_ROW3_Pin KEY_ROW4_Pin KEY_ROW1_Pin KEY_ROW2_Pin
                           KEY_COL4_Pin */
  GPIO_InitStruct.Pin = KEY_ROW3_Pin|KEY_ROW4_Pin|KEY_ROW1_Pin|KEY_ROW2_Pin
                          |KEY_COL4_Pin;
  GPIO_InitStruct.Mode = GPIO_MODE_INPUT;
  GPIO_InitStruct.Pull = GPIO_PULLDOWN;
  HAL_GPIO_Init(GPIOD, &GPIO_InitStruct);

  /*Configure GPIO pins : TOUCH_SCL_Pin TOUCH_SDA_Pin */
  GPIO_InitStruct.Pin = TOUCH_SCL_Pin|TOUCH_SDA_Pin;
  GPIO_InitStruct.Mode = GPIO_MODE_OUTPUT_PP;
  GPIO_InitStruct.Pull = GPIO_PULLUP;
  GPIO_InitStruct.Speed = GPIO_SPEED_FREQ_HIGH;
  HAL_GPIO_Init(GPIOB, &GPIO_InitStruct);

  /*Configure GPIO pin : TOUCH_INT_Pin */
  GPIO_InitStruct.Pin = TOUCH_INT_Pin;
  GPIO_InitStruct.Mode = GPIO_MODE_IT_RISING;
  GPIO_InitStruct.Pull = GPIO_PULLDOWN;
  HAL_GPIO_Init(TOUCH_INT_GPIO_Port, &GPIO_InitStruct);

  /*Configure GPIO pin : TOUCH_RST_Pin */
  GPIO_InitStruct.Pin = TOUCH_RST_Pin;
  GPIO_InitStruct.Mode = GPIO_MODE_OUTPUT_PP;
  GPIO_InitStruct.Pull = GPIO_PULLDOWN;
  GPIO_InitStruct.Speed = GPIO_SPEED_FREQ_HIGH;
  HAL_GPIO_Init(TOUCH_RST_GPIO_Port, &GPIO_InitStruct);

  /* EXTI interrupt init*/
  HAL_NVIC_SetPriority(EXTI0_IRQn, 0, 0);
  HAL_NVIC_EnableIRQ(EXTI0_IRQn);

}

/* USER CODE BEGIN 4 */
void HAL_TIM_PeriodElapsedCallback(TIM_HandleTypeDef *htim)
{
  /* Prevent unused argument(s) compilation warning */
  UNUSED(htim);
	if(htim->Instance == htim3.Instance)			//1ms
	{
//		HAL_GPIO_TogglePin(MCU_LCD_LIGHT_GPIO_Port, MCU_LCD_LIGHT_Pin);
	}
	if(htim->Instance == htim6.Instance)			//1ms
	{
//	HAL_GPIO_WritePin(MCU_LCD_LIGHT_GPIO_Port, MCU_LCD_LIGHT_Pin, GPIO_PIN_SET);
		if(ts_event.touch_hold_count<100)	ts_event.touch_hold_count ++;
		if(ts_event.touch_hold_count==99)	ts_event.touch_event = TOUCH_UP;

		if(time_buzz)
		{
			time_buzz--;
			if(time_buzz==1)
				HAL_GPIO_WritePin(BUZZER_GPIO_Port, BUZZER_Pin, GPIO_PIN_RESET);
		}

		if(count <= 0xFFFFF)
			count ++;
		if(AT_timeout <0xFFFF)
			AT_timeout++;
		if(flag_readDHT12==false)
				scan_switch();
//Led scan
		if(Led1.enable)
		{
			if((Led1.counter %Led1.timeCycle) < Led1.timeOn)	HAL_GPIO_WritePin(LED1_GPIO_Port, LED1_Pin, GPIO_PIN_SET);
			else	HAL_GPIO_WritePin(LED1_GPIO_Port, LED1_Pin, GPIO_PIN_RESET);
			Led1.counter ++;
			if(Led1.counter >= Led1.timeActive)
			{
				Led1.enable =false;
				HAL_GPIO_WritePin(LED1_GPIO_Port, LED1_Pin, GPIO_PIN_RESET);
			}
		}
		if(Led2.enable)
		{
			if((Led2.counter %Led2.timeCycle) < Led2.timeOn)	HAL_GPIO_WritePin(LED2_GPIO_Port, LED2_Pin, GPIO_PIN_SET);
			else	HAL_GPIO_WritePin(LED2_GPIO_Port, LED2_Pin, GPIO_PIN_RESET);
			Led2.counter++;
			if(Led2.counter >= Led2.timeActive)
			{
				Led2.enable =false;
				HAL_GPIO_WritePin(LED2_GPIO_Port, LED2_Pin, GPIO_PIN_RESET);
			}
		}
		if(Led3.enable)
		{
			if((Led3.counter %Led3.timeCycle) < Led3.timeOn)	HAL_GPIO_WritePin(LED3_GPIO_Port, LED3_Pin, GPIO_PIN_SET);
			else	HAL_GPIO_WritePin(LED3_GPIO_Port, LED3_Pin, GPIO_PIN_RESET);
			Led3.counter++;
			if(Led3.counter >= Led3.timeActive)
			{
				Led3.enable =false;
				HAL_GPIO_WritePin(LED3_GPIO_Port, LED3_Pin, GPIO_PIN_RESET);
			}
		}
//		HAL_GPIO_WritePin(MCU_LCD_LIGHT_GPIO_Port, MCU_LCD_LIGHT_Pin, GPIO_PIN_RESET);
	}
}
void HAL_RTCEx_RTCEventCallback(RTC_HandleTypeDef *hrtc)
{
  /* Prevent unused argument(s) compilation warning */
  UNUSED(hrtc);
  /* NOTE : This function Should not be modified, when the callback is needed,
            the HAL_RTCEx_RTCEventCallback could be implemented in the user file
   */
	isSecond =1;
	isSecond_display ++;
	timeInterval++;

}

/* USER CODE END 4 */

void Error_Handler(void)
{
  /* USER CODE BEGIN Error_Handler_Debug */
  /* User can add his own implementation to report the HAL error return state */
  printf("error\r\n");
	__disable_irq();
  while (1)
  {
  }
  /* USER CODE END Error_Handler_Debug */
}
